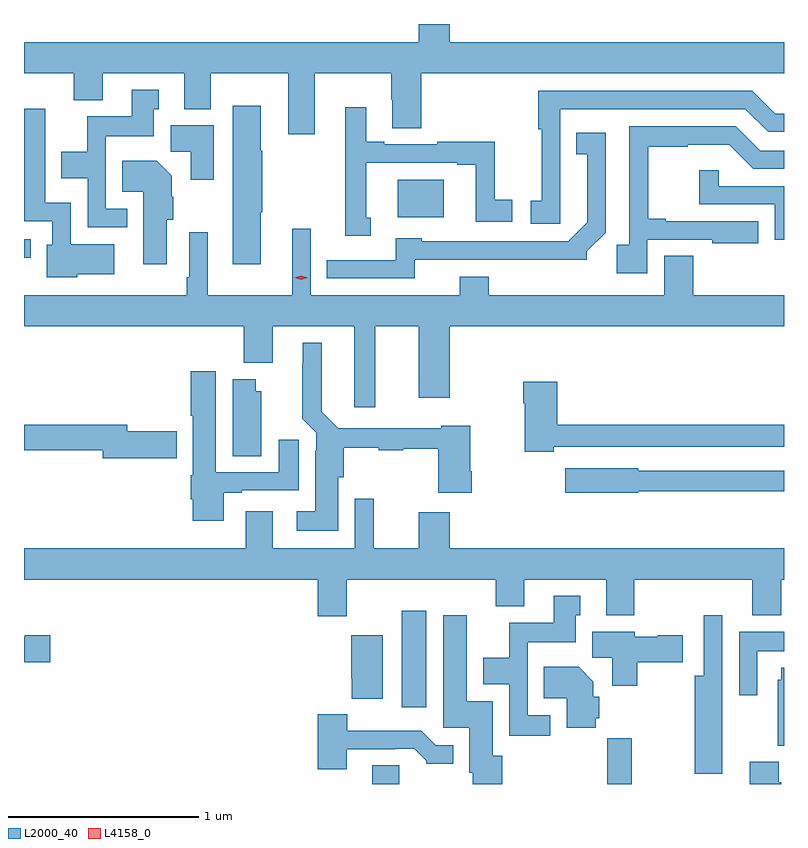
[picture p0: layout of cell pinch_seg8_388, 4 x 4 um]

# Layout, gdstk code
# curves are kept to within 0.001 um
import gdstk
lib = gdstk.Library(unit=1e-6, precision=1e-09)
def R(c, l, rs):  # rectangles x0, y0, x1, y1
    for r in rs: c.add(gdstk.rectangle(r[:2], r[2:], *l))
def P(c, l, *ps):  # polygons
    for p in ps: c.add(gdstk.Polygon(p, *l))
L2000_40 = (2000, 40)
L4158_0 = (4158, 0)

pinch_seg8_388 = lib.new_cell('pinch_seg8_388')
R(pinch_seg8_388, L2000_40, [(584.345,1095.444,584.485,1095.542), (585.58,1095.444,585.709,1095.685), (584.498,1095.849,584.629,1096.357), (582.511,1098.215,582.547,1098.312), (584.477,1098.428,584.719,1098.625)])
P(pinch_seg8_388, L2000_40, [(584.041,1099.184),(584.443,1099.184),(584.443,1099.046),(584.45,1099.046),(584.45,1098.895),(584.603,1098.895),(584.603,1099.184),(586.511,1099.184),(586.511,1099.348),(584.752,1099.348),(584.752,1099.444),(584.588,1099.444),(584.588,1099.348),(582.511,1099.348),(582.511,1099.184),(582.773,1099.184),(582.773,1099.043),(582.925,1099.043),(582.925,1099.184),(583.355,1099.184),(583.355,1098.995),(583.495,1098.995),(583.495,1099.184),(583.901,1099.184),(583.901,1098.864),(584.041,1098.864)],
  [(583.054,1098.471),(582.942,1098.471),(582.942,1098.854),(583.195,1098.854),(583.195,1098.996),(583.219,1098.996),(583.219,1099.099),(583.079,1099.099),(583.079,1098.958),(582.844,1098.958),(582.844,1098.772),(582.707,1098.772),(582.707,1098.632),(582.846,1098.632),(582.846,1098.375),(583.054,1098.375)],
  [(585.334,1098.668),(585.333,1098.996),(586.308,1098.996),(586.428,1098.876),(586.511,1098.876),(586.511,1098.972),(586.464,1098.972),(586.344,1099.092),(585.217,1099.092),(585.217,1098.889),(585.235,1098.889),(585.235,1098.513),(585.177,1098.513),(585.177,1098.393),(585.334,1098.393)],
  [(583.756,1098.454),(583.764,1098.454),(583.764,1098.776),(583.756,1098.776),(583.756,1099.015),(583.61,1099.015),(583.61,1098.18),(583.756,1098.18)],
  [(584.335,1098.423),(584.311,1098.423),(584.311,1098.714),(584.792,1098.714),(584.792,1098.702),(584.888,1098.702),(584.888,1098.402),(585.082,1098.402),(585.082,1098.518),(584.988,1098.518),(584.988,1098.823),(584.686,1098.823),(584.686,1098.81),(584.407,1098.81),(584.407,1098.823),(584.311,1098.823),(584.311,1099.006),(584.201,1099.006),(584.201,1098.761),(584.202,1098.761),(584.202,1098.329),(584.335,1098.329)],
  [(582.792,1098.128),(582.985,1098.128),(582.985,1098.286),(582.756,1098.286),(582.756,1098.502),(582.622,1098.502),(582.622,1098.997),(582.511,1098.997),(582.511,1098.405),(582.66,1098.405),(582.66,1098.282),(582.632,1098.282),(582.632,1098.11),(582.792,1098.11)],
  [(583.51,1098.91),(583.283,1098.91),(583.283,1098.772),(583.388,1098.772),(583.388,1098.624),(583.51,1098.624)],
  [(585.792,1098.309),(586.133,1098.309),(586.133,1098.29),(586.376,1098.29),(586.376,1098.405),(585.889,1098.405),(585.889,1098.418),(585.797,1098.418),(585.797,1098.798),(586.004,1098.798),(586.004,1098.809),(586.222,1098.809),(586.35,1098.681),(586.511,1098.681),(586.511,1098.777),(586.386,1098.777),(586.257,1098.906),(585.696,1098.906),(585.696,1098.283),(585.631,1098.283),(585.631,1098.132),(585.792,1098.132)],
  [(584.568,1098.204),(585.474,1098.203),(585.474,1098.247),(585.573,1098.346),(585.573,1098.871),(585.418,1098.871),(585.418,1098.758),(585.476,1098.758),(585.476,1098.401),(585.375,1098.3),(584.604,1098.3),(584.604,1098.316),(584.468,1098.316),(584.468,1098.201),(584.104,1098.201),(584.104,1098.105),(584.568,1098.105)],
  [(583.261,1098.414),(583.296,1098.414),(583.296,1098.536),(583.288,1098.536),(583.288,1098.646),(583.21,1098.724),(583.027,1098.724),(583.027,1098.56),(583.139,1098.56),(583.139,1098.18),(583.261,1098.18)],
  [(586.511,1098.591),(586.167,1098.591),(586.167,1098.673),(586.066,1098.673),(586.066,1098.495),(586.461,1098.495),(586.461,1098.309),(586.511,1098.309)],
  [(583.667,1097.66),(583.819,1097.66),(583.819,1097.852),(584.249,1097.852),(584.249,1097.427),(584.359,1097.427),(584.359,1097.852),(584.588,1097.852),(584.588,1097.478),(584.752,1097.478),(584.752,1097.852),(586.511,1097.852),(586.511,1098.016),(586.034,1098.016),(586.034,1098.224),(585.881,1098.224),(585.881,1098.016),(584.957,1098.016),(584.957,1098.115),(584.804,1098.115),(584.804,1098.016),(584.019,1098.016),(584.019,1098.367),(583.922,1098.367),(583.922,1098.016),(583.477,1098.016),(583.477,1098.349),(583.38,1098.349),(583.38,1098.112),(583.368,1098.112),(583.368,1098.016),(582.511,1098.016),(582.511,1097.852),(583.667,1097.852)],
  [(584.164,1097.058),(584.195,1097.058),(584.195,1097.215),(584.378,1097.215),(584.378,1097.2),(584.506,1097.2),(584.506,1097.208),(584.69,1097.208),(584.69,1096.977),(584.868,1096.977),(584.868,1097.089),(584.86,1097.089),(584.86,1097.329),(584.706,1097.329),(584.706,1097.317),(584.164,1097.316),(584.077,1097.404),(584.077,1097.767),(583.979,1097.767),(583.979,1097.657),(583.975,1097.657),(583.975,1097.366),(584.049,1097.292),(584.049,1097.198),(584.045,1097.198),(584.045,1096.879),(583.947,1096.879),(583.947,1096.778),(584.164,1096.778)],
  [(583.561,1096.977),(583.657,1096.977),(583.657,1096.989),(583.957,1096.989),(583.957,1097.257),(583.853,1097.257),(583.853,1097.085),(583.519,1097.085),(583.519,1097.617),(583.388,1097.617),(583.388,1097.383),(583.4,1097.383),(583.4,1097.069),(583.388,1097.069),(583.388,1096.942),(583.4,1096.942),(583.4,1096.83),(583.561,1096.83)],
  [(583.759,1097.511),(583.732,1097.511),(583.732,1097.575),(583.61,1097.575),(583.61,1097.17),(583.759,1097.17)],
  [(585.3,1097.22),(586.511,1097.22),(586.511,1097.336),(585.317,1097.336),(585.317,1097.56),(585.139,1097.56),(585.139,1097.447),(585.146,1097.447),(585.146,1097.192),(585.3,1097.192)],
  [(583.315,1097.3),(583.054,1097.3),(583.054,1097.336),(582.511,1097.336),(582.511,1097.2),(582.926,1097.2),(582.926,1097.158),(583.315,1097.158)],
  [(585.744,1096.986),(586.511,1096.986),(586.511,1097.094),(585.744,1097.094),(585.744,1097.107),(585.36,1097.107),(585.36,1096.978),(585.744,1096.978)],
  [(584.209,1096.52),(584.993,1096.52),(584.993,1096.379),(585.145,1096.379),(585.145,1096.52),(585.575,1096.52),(585.575,1096.331),(585.723,1096.331),(585.723,1096.52),(586.343,1096.52),(586.343,1096.331),(586.496,1096.331),(586.496,1096.52),(586.511,1096.52),(586.511,1096.684),(584.752,1096.684),(584.752,1096.873),(584.588,1096.873),(584.588,1096.684),(584.352,1096.684),(584.352,1096.945),(584.253,1096.945),(584.253,1096.684),(583.819,1096.684),(583.819,1096.879),(583.679,1096.879),(583.679,1096.684),(582.511,1096.684),(582.511,1096.52),(584.057,1096.52),(584.057,1096.326),(584.209,1096.326)],
  [(585.28,1095.807),(585.162,1095.807),(585.162,1096.19),(585.415,1096.19),(585.415,1096.332),(585.439,1096.332),(585.439,1096.435),(585.299,1096.435),(585.299,1096.294),(585.064,1096.294),(585.064,1096.108),(584.927,1096.108),(584.927,1095.968),(585.066,1095.968),(585.066,1095.699),(585.28,1095.699)],
  [(586.186,1095.911),(586.185,1095.911),(586.185,1096.333),(586.089,1096.333),(586.089,1096.015),(586.04,1096.015),(586.04,1095.498),(586.186,1095.498)],
  [(585.029,1095.594),(584.977,1095.594),(584.977,1095.88),(584.842,1095.88),(584.842,1096.333),(584.717,1096.333),(584.717,1095.741),(584.855,1095.741),(584.855,1095.504),(584.872,1095.504),(584.872,1095.444),(585.029,1095.444)],
  [(586.371,1096.142),(586.511,1096.142),(586.511,1096.246),(586.275,1096.246),(586.275,1095.912),(586.371,1095.912)],
  [(585.738,1096.085),(585.979,1096.085),(585.979,1096.227),(585.846,1096.227),(585.846,1096.219),(585.726,1096.219),(585.726,1096.246),(585.503,1096.246),(585.503,1096.108),(585.608,1096.108),(585.608,1095.96),(585.738,1095.96)],
  [(584.398,1096.228),(584.234,1096.228),(584.234,1096),(584.236,1096),(584.236,1095.893),(584.398,1095.893)],
  [(582.649,1096.227),(582.516,1096.227),(582.516,1096.219),(582.511,1096.219),(582.511,1096.085),(582.649,1096.085)],
  [(585.52,1095.789),(585.539,1095.789),(585.539,1095.903),(585.508,1095.903),(585.508,1095.982),(585.43,1096.06),(585.247,1096.06),(585.247,1095.896),(585.368,1095.896),(585.368,1095.739),(585.52,1095.739)],
  [(586.511,1096.057),(586.496,1096.057),(586.496,1095.993),(586.478,1095.993),(586.478,1095.646),(586.511,1095.646)],
  [(584.209,1095.627),(584.465,1095.627),(584.465,1095.63),(584.564,1095.63),(584.628,1095.566),(584.628,1095.551),(584.77,1095.551),(584.77,1095.648),(584.679,1095.648),(584.603,1095.724),(584.212,1095.724),(584.212,1095.811),(584.057,1095.811),(584.057,1095.522),(584.209,1095.522)],
  [(586.496,1095.452),(586.483,1095.452),(586.483,1095.561),(586.331,1095.561),(586.331,1095.444),(586.496,1095.444)])
P(pinch_seg8_388, L4158_0, [(583.97,1098.098),(583.934,1098.108),(583.934,1098.108),(583.934,1098.108),(583.97,1098.118),(584.005,1098.108),(584.005,1098.108),(584.005,1098.108)])

lib.write_gds('pinch_seg8_388.gds')
